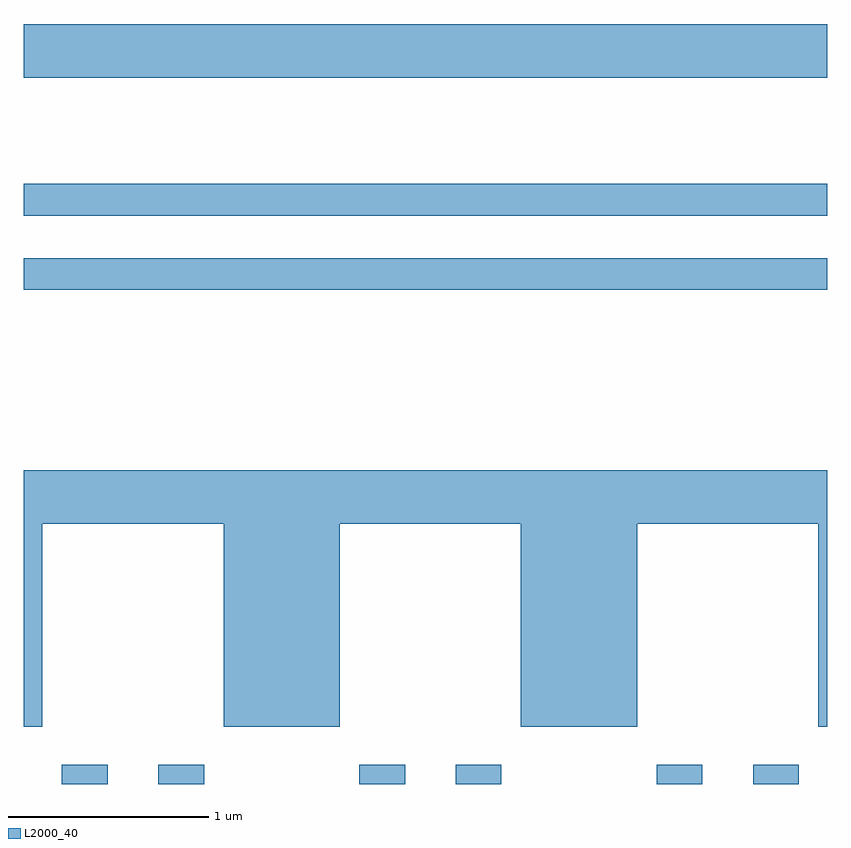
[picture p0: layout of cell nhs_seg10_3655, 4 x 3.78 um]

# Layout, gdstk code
import gdstk
lib = gdstk.Library(unit=1e-6, precision=1e-09)
def R(c, l, rs):  # rectangles x0, y0, x1, y1
    for r in rs: c.add(gdstk.rectangle(r[:2], r[2:], *l))
def P(c, l, *ps):  # polygons
    for p in ps: c.add(gdstk.Polygon(p, *l))
L2000_40 = (2000, 40)

nhs_seg10_3655 = lib.new_cell('nhs_seg10_3655')
R(nhs_seg10_3655, L2000_40, [(291.801,2212.522,292.029,2212.619), (292.281,2212.522,292.509,2212.619), (293.281,2212.522,293.509,2212.619), (293.761,2212.522,293.989,2212.619), (294.761,2212.522,294.989,2212.619), (295.241,2212.522,295.469,2212.619), (291.611,2214.981,295.611,2215.139), (291.611,2215.351,295.611,2215.509), (291.611,2216.036,295.611,2216.304)])
P(nhs_seg10_3655, L2000_40, [(291.704,2213.816),(292.606,2213.816),(292.606,2212.806),(293.184,2212.806),(293.184,2213.816),(294.086,2213.816),(294.086,2212.806),(294.664,2212.806),(294.664,2213.816),(295.566,2213.816),(295.566,2212.806),(295.611,2212.806),(295.611,2214.084),(291.611,2214.084),(291.611,2212.806),(291.704,2212.806)])

lib.write_gds('nhs_seg10_3655.gds')
